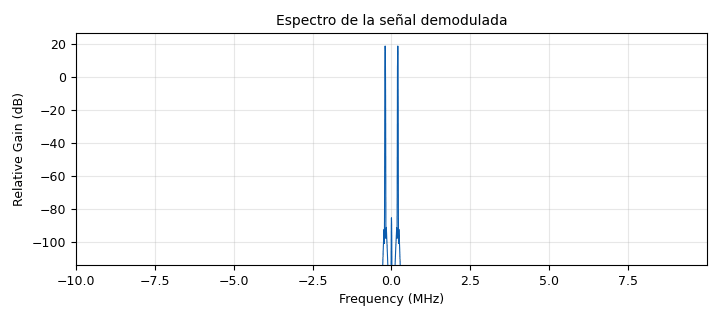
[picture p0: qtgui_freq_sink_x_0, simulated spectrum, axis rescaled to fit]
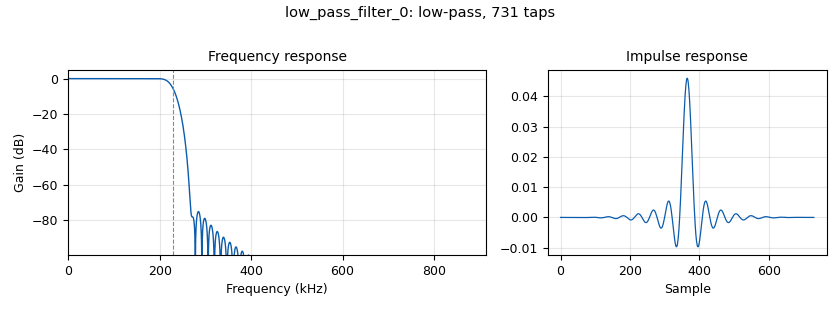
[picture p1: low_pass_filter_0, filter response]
options:
  parameters:
    generate_options: qt_gui
    id: AM_transmisor
    output_language: python
    title: AM_transmisor
  states: {}

blocks:
- name: frecuencia_c
  id: variable_qtgui_range
  parameters:
    label: freq_port
    start: '800'
    step: '10'
    stop: '40000000'
    value: '4000000'
  states: {}
- name: frecuencia_m
  id: variable_qtgui_range
  parameters:
    label: freq_mens
    start: '0'
    step: '10'
    stop: '3000000'
    value: '200000'
  states: {}
- name: ka
  id: variable_qtgui_range
  parameters:
    start: '0'
    step: '0.1'
    stop: '50'
    value: '1'
  states: {}
- name: samp_rate
  id: variable
  parameters:
    value: '20000000'
  states: {}
- name: analog_const_source_x_0
  id: analog_const_source_x
  parameters:
    const: ka
    type: float
  states: {}
- name: analog_sig_source_x_0
  id: analog_sig_source_x
  parameters:
    amp: '1'
    freq: frecuencia_m
    offset: '0'
    phase: '0'
    samp_rate: samp_rate
    type: float
    waveform: analog.GR_COS_WAVE
  states: {}
- name: analog_sig_source_x_1
  id: analog_sig_source_x
  parameters:
    amp: '10'
    freq: frecuencia_c
    offset: '0'
    phase: '0'
    samp_rate: samp_rate
    type: float
    waveform: analog.GR_COS_WAVE
  states: {}
- name: analog_sig_source_x_2
  id: analog_sig_source_x
  parameters:
    amp: '10'
    freq: frecuencia_c
    offset: '0'
    phase: '0'
    samp_rate: samp_rate
    type: float
    waveform: analog.GR_COS_WAVE
  states: {}
- name: blocks_add_xx_0
  id: blocks_add_xx
  parameters:
    type: float
  states: {}
- name: blocks_multiply_xx_0
  id: blocks_multiply_xx
  parameters:
    type: float
  states: {}
- name: blocks_multiply_xx_1
  id: blocks_multiply_xx
  parameters:
    type: float
  states: {}
- name: blocks_multiply_xx_2
  id: blocks_multiply_xx
  parameters:
    type: float
  states: {}
- name: blocks_throttle2_0
  id: blocks_throttle2
  parameters:
    samples_per_second: '4410000'
    type: float
  states: {}
- name: blocks_throttle2_1
  id: blocks_throttle2
  parameters:
    samples_per_second: '441000000'
    type: float
  states: {}
- name: blocks_throttle2_2
  id: blocks_throttle2
  parameters:
    samples_per_second: '441000000'
    type: float
  states: {}
- name: dc_blocker_xx_0
  id: dc_blocker_xx
  parameters:
    length: '4400'
    long_form: 'True'
    type: ff
  states: {}
- name: ejes
  id: qtgui_tab_widget
  parameters:
    label0: Tiempo
    label1: 'Frecuencia '
    label2: Tiempo (demod)
    label3: 'Frecuencia (demod) '
    num_tabs: '4'
  states: {}
- name: low_pass_filter_0
  id: low_pass_filter
  parameters:
    beta: '100'
    cutoff_freq: '230000'
    decim: '1'
    gain: '1'
    samp_rate: '10000000'
    type: fir_filter_fff
    width: '46000'
    win: window.WIN_BLACKMAN
  states: {}
- name: qtgui_freq_sink_x_0
  id: qtgui_freq_sink_x
  parameters:
    bw: samp_rate
    fc: '0'
    fftsize: '4096'
    name: Espectro de la señal demodulada
    type: float
  states: {}

connections:
- [analog_const_source_x_0, '0', blocks_multiply_xx_0, '1']
- [analog_sig_source_x_0, '0', blocks_throttle2_0, '0']
- [analog_sig_source_x_1, '0', blocks_throttle2_1, '0']
- [analog_sig_source_x_2, '0', blocks_throttle2_2, '0']
- [blocks_add_xx_0, '0', blocks_multiply_xx_2, '0']
- [blocks_multiply_xx_0, '0', blocks_multiply_xx_1, '0']
- [blocks_multiply_xx_1, '0', blocks_add_xx_0, '0']
- [blocks_multiply_xx_2, '0', low_pass_filter_0, '0']
- [blocks_throttle2_0, '0', blocks_multiply_xx_0, '0']
- [blocks_throttle2_1, '0', blocks_add_xx_0, '1']
- [blocks_throttle2_1, '0', blocks_multiply_xx_1, '1']
- [blocks_throttle2_2, '0', blocks_multiply_xx_2, '1']
- [dc_blocker_xx_0, '0', qtgui_freq_sink_x_0, '0']
- [low_pass_filter_0, '0', dc_blocker_xx_0, '0']

metadata:
  file_format: 1
  grc_version: 3.10.12.0
